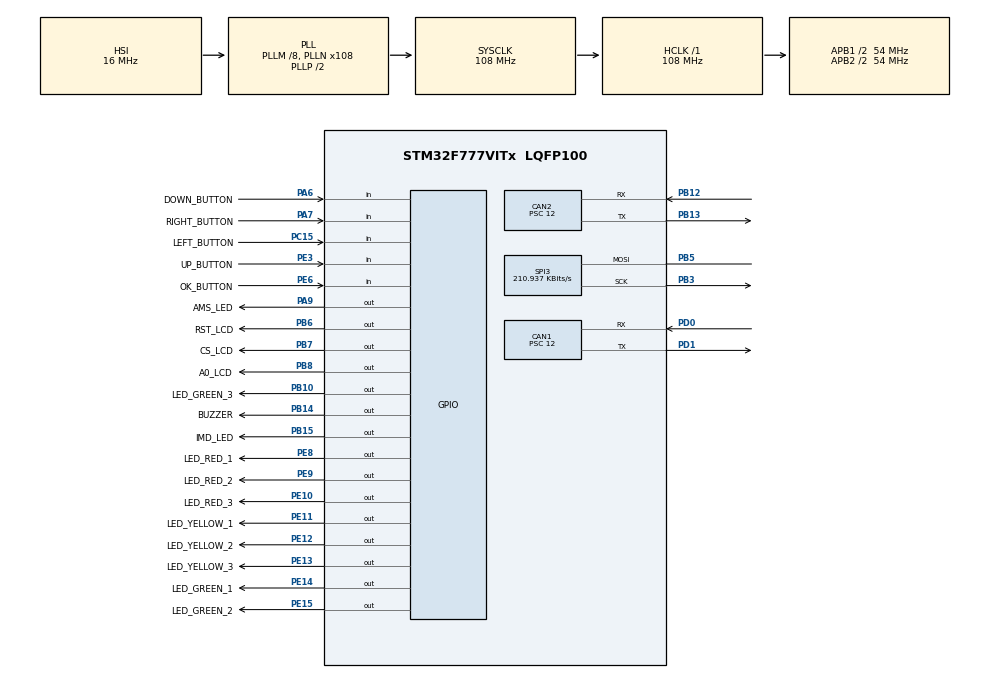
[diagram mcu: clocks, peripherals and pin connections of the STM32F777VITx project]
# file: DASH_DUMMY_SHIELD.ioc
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CAN1.BS1=CAN_BS1_6TQ
CAN1.BS2=CAN_BS2_2TQ
CAN1.CalculateBaudRate=500000
CAN1.CalculateTimeBit=2000
CAN1.CalculateTimeQuantum=222.22222222222223
CAN1.Prescaler=12
CAN2.BS1=CAN_BS1_6TQ
CAN2.BS2=CAN_BS2_2TQ
CAN2.CalculateBaudRate=500000
CAN2.CalculateTimeBit=2000
CAN2.CalculateTimeQuantum=222.22222222222223
CAN2.Prescaler=12
CORTEX_M7.default_mode_Activation=1
Mcu.Family=STM32F7
Mcu.Name=STM32F777VITx
Mcu.Package=LQFP100
NVIC.CAN1_RX0_IRQn=true\:3\:0\:true\:false\:true\:true\:true\:true
NVIC.CAN1_RX1_IRQn=true\:3\:0\:true\:false\:true\:true\:true\:true
NVIC.CAN1_SCE_IRQn=true\:0\:0\:false\:false\:true\:true\:true\:true
NVIC.CAN1_TX_IRQn=true\:1\:0\:true\:false\:true\:true\:true\:true
NVIC.CAN2_RX0_IRQn=true\:2\:0\:true\:false\:true\:true\:true\:true
NVIC.CAN2_RX1_IRQn=true\:2\:0\:true\:false\:true\:true\:true\:true
NVIC.CAN2_SCE_IRQn=true\:0\:0\:false\:false\:true\:true\:true\:true
NVIC.CAN2_TX_IRQn=true\:0\:0\:false\:false\:true\:true\:true\:true
NVIC.PriorityGroup=NVIC_PRIORITYGROUP_4
NVIC.TIM8_TRG_COM_TIM14_IRQn=true\:0\:0\:false\:false\:true\:true\:true\:true
NVIC.TIM8_UP_TIM13_IRQn=true\:0\:0\:false\:false\:true\:true\:true\:true
PA6.GPIO_Label=DOWN_BUTTON
PA6.Signal=GPIO_Input
PA7.GPIO_Label=RIGHT_BUTTON
PA7.Signal=GPIO_Input
PA9.GPIO_Label=AMS_LED
PA9.Signal=GPIO_Output
PB10.GPIO_Label=LED_GREEN_3
PB10.Signal=GPIO_Output
PB12.Mode=CAN_Activate
PB12.Signal=CAN2_RX
PB13.Mode=CAN_Activate
PB13.Signal=CAN2_TX
PB14.GPIO_Label=BUZZER
PB14.Signal=GPIO_Output
PB15.GPIO_Label=IMD_LED
PB15.Signal=GPIO_Output
PB3.Mode=Simplex_Bidirectional_Master
PB3.Signal=SPI3_SCK
PB5.Mode=Simplex_Bidirectional_Master
PB5.Signal=SPI3_MOSI
PB6.GPIO_Label=RST_LCD
PB6.GPIO_PuPd=GPIO_PULLUP
PB6.Signal=GPIO_Output
PB7.GPIO_Label=CS_LCD
PB7.GPIO_PuPd=GPIO_PULLUP
PB7.Signal=GPIO_Output
PB8.GPIO_Label=A0_LCD
PB8.GPIO_PuPd=GPIO_PULLUP
PB8.Signal=GPIO_Output
PC15/OSC32_OUT.GPIO_Label=LEFT_BUTTON
PC15/OSC32_OUT.Signal=GPIO_Input
PD0.Mode=CAN_Activate
PD0.Signal=CAN1_RX
PD1.Mode=CAN_Activate
PD1.Signal=CAN1_TX
PE10.GPIO_Label=LED_RED_3
PE10.Signal=GPIO_Output
PE11.GPIO_Label=LED_YELLOW_1
PE11.Signal=GPIO_Output
PE12.GPIO_Label=LED_YELLOW_2
PE12.Signal=GPIO_Output
PE13.GPIO_Label=LED_YELLOW_3
PE13.Signal=GPIO_Output
PE14.GPIO_Label=LED_GREEN_1
PE14.Signal=GPIO_Output
PE15.GPIO_Label=LED_GREEN_2
PE15.Signal=GPIO_Output
PE3.GPIO_Label=UP_BUTTON
PE3.Signal=GPIO_Input
PE6.GPIO_Label=OK_BUTTON
PE6.Signal=GPIO_Input
PE8.GPIO_Label=LED_RED_1
PE8.Signal=GPIO_Output
PE9.GPIO_Label=LED_RED_2
PE9.Signal=GPIO_Output
ProjectManager.HeapSize=0x200
ProjectManager.StackSize=0x400
ProjectManager.TargetToolchain=STM32CubeIDE
RCC.AHBFreq_Value=108000000
RCC.APB1CLKDivider=RCC_HCLK_DIV2
RCC.APB1Freq_Value=54000000
RCC.APB1TimFreq_Value=108000000
RCC.APB2CLKDivider=RCC_HCLK_DIV2
RCC.APB2Freq_Value=54000000
RCC.APB2TimFreq_Value=108000000
RCC.CortexFreq_Value=108000000
RCC.HCLKFreq_Value=108000000
RCC.HSE_VALUE=25000000
RCC.HSI_VALUE=16000000
RCC.LSE_VALUE=32768
RCC.PLLM=8
RCC.PLLN=108
RCC.SYSCLKFreq_VALUE=108000000
RCC.SYSCLKSource=RCC_SYSCLKSOURCE_PLLCLK
RCC.USBFreq_Value=108000000
RCC.VCOOutputFreq_Value=216000000
SPI3.BaudRatePrescaler=SPI_BAUDRATEPRESCALER_256
SPI3.CalculateBaudRate=210.937 KBits/s
SPI3.DataSize=SPI_DATASIZE_8BIT
SPI3.Direction=SPI_DIRECTION_1LINE
SPI3.Mode=SPI_MODE_MASTER
SPI3.VirtualType=VM_MASTER
TIM13.Period=10000
TIM13.Prescaler=10-1
TIM14.Period=10000
TIM14.Prescaler=10-1
VP_TIM13_VS_ClockSourceINT.Mode=Enable_Timer
VP_TIM14_VS_ClockSourceINT.Mode=Enable_Timer
board=custom

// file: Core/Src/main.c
/* USER CODE BEGIN Header */
/**
  ******************************************************************************
  * @file           : main.c
  * @brief          : Main program body
  ******************************************************************************
  * @attention
  *
  * Copyright (c) 2024 STMicroelectronics.
  * All rights reserved.
  *
  * This software is licensed under terms that can be found in the LICENSE file
  * in the root directory of this software component.
  * If no LICENSE file comes with this software, it is provided AS-IS.
  *
  ******************************************************************************
  */
/* USER CODE END Header */
#include "main.h"

/* USER CODE BEGIN Includes */
#include "graphics.h"
#include "statemachine.h"
#include "buttons.h"
#include "can.h"
#include "glcd_etr.h"
#include "init.h"
#include "font_tahoma.h"

/* USER CODE END Includes */

CAN_HandleTypeDef hcan1;
CAN_HandleTypeDef hcan2;

SPI_HandleTypeDef hspi3;

TIM_HandleTypeDef htim13;
TIM_HandleTypeDef htim14;

/* USER CODE BEGIN PV */

	/* CAN  -----------------------------------------------------------------*/

	CAN_TxHeaderTypeDef TxHeader;
	CAN_RxHeaderTypeDef RxHeader;
	CAN_FilterTypeDef can1filter;
	CAN_FilterTypeDef can2filter;

	uint32_t RxMailbox = 0;
	uint32_t TxMailbox;
	uint8_t TxData[8];
	uint8_t RxData[8];

	/* CAR STATE -------------------------------------------------------------*/

	uint8_t Car__State[1];	//0 -> Init; 3 -> PrechargeRequest; 6 -> Precharge In Process; 9 -> Precharge Done; 12 -> Racing Menu; 14 -> Inverters Ready; 15 -> Racing Mode; 21 -> Errors
	uint8_t Current_Car_State[1];
	uint8_t Racing_Mode[1];
	uint8_t Precharge_Request[1];

	/* DASH DATA -------------------------------------------------------------*/

	uint16_t PrechargeVoltage[1];
	uint8_t PrechargePercentatge[1];
	uint8_t CarSpeed[1];
	uint8_t SoC_Average[1];

	/* DISCONNECTIONS  -------------------------------------------------------*/

	uint8_t BMS_Disconnect[1];
	uint8_t Dash_Disconect[1];
	uint8_t Front_Disconenct[1];
	uint8_t Ellipse_Disconect[1];
	uint8_t Rear_Disconnect[1];
	uint8_t APPS1_Disconect[1];
	uint8_t APPS2_Disconnect[1];
	uint8_t BrakePedal_Disconnect[1];
	uint8_t SteeringSensor_Disconnect[1];
	uint8_t SuspRR_Disconnect[1];
	uint8_t SuspRL_Disconnect[1];
	uint8_t SuspFR_Disconnect[1];
	uint8_t SuspFL_Disconnect[1];
	uint8_t SuspFL_Disconnect[1];
	uint8_t Pitot_Disconnect[1];

	/* SHUTDOWN  -------------------------------------------------------------*/

	uint8_t BMS_SD[1];
	uint8_t Front_SD[1];
	uint8_t Rear_SD[1];

	/* SYNCRONISM  -----------------------------------------------------------*/

	uint8_t syncronism[1];
	uint8_t KeepAlive[1];

	/* TEMPERATURAS  ---------------------------------------------------------*/

	uint16_t Lowest_CellTemperature[1];
	uint16_t Highest_CellTemperature[1];
	uint16_t Average_CellTemperature[1];

	/* VDC  ------------------------------------------------------------------*/

	uint8_t VDC_Params[1];

	/* VOLTAGES  -------------------------------------------------------------*/

	uint16_t Lowest_CellVolt[1];
	uint16_t Highest_CellVolt[1];
	uint32_t Accu_CellVolt[1];

	/* COOLING  --------------------------------------------------------------*/

	uint8_t Accumulator_Refri[1];
	uint8_t Inverters_Refri[1];

	/* ENABLE TO DRIVE   -----------------------------------------------------*/

	uint8_t Enable_Drive[1];

	/* CONTROL  --------------------------------------------------------------*/

	char msg_can1[1];
	char msg_can2[1];
	char precharge_request_control[1];			//0 -> Nothing Is Sent | 1 -> PrechargeReq = 1 Is Sent
												// 2 -> PrechargeReq = 0 Is Sent | 3 -> Precharge Successful

/* USER CODE END PV */

void SystemClock_Config(void);
static void MPU_Config(void);
static void MX_GPIO_Init(void);
static void MX_CAN1_Init(void);
static void MX_CAN2_Init(void);
static void MX_SPI3_Init(void);
static void MX_TIM14_Init(void);
static void MX_TIM13_Init(void);

int main(void)
{

  /* MPU Configuration--------------------------------------------------------*/
  MPU_Config();

  /* MCU Configuration--------------------------------------------------------*/

  /* Reset of all peripherals, Initializes the Flash interface and the Systick. */
  HAL_Init();

  /* Configure the system clock */
  SystemClock_Config();

  /* Initialize all configured peripherals */
  MX_GPIO_Init();
  MX_CAN1_Init();
  MX_CAN2_Init();
  MX_SPI3_Init();
  MX_TIM14_Init();
  MX_TIM13_Init();
  /* USER CODE BEGIN 2 */

 // VARIABLE_RESET(&Enable_Drive, &Racing_Mode, &Precharge_Request, &KeepAlive, &Inverters_Refri, &Accumulator_Refri, &msg_can1, &msg_can2);

  NORMATIVE_INIT();
  VARIABLE_RESET(Enable_Drive, Racing_Mode, Precharge_Request, KeepAlive, Inverters_Refri, Accumulator_Refri, msg_can1, msg_can2, Car__State, precharge_request_control);

  filtercanconfig_can1(&can1filter);
  filtercanconfig_can2(&can2filter);
  CAN1_CONFIG_INIT(can1filter, hcan1);
  CAN1_CONFIG_INIT(can2filter, hcan2);

  if(HAL_TIM_Base_Start_IT(&htim13) != HAL_OK) Error_Handler();
  if(HAL_TIM_Base_Start_IT(&htim14) != HAL_OK) Error_Handler();

  draw_text("hola", 10, 3, Tahoma7, 1);
  glcd_etr_refresh(hspi3);

  NORMATIVE_INIT();

  /* USER CODE END 2 */

  /* Infinite loop */
  /* USER CODE BEGIN WHILE */
	  while (1){

	      switch(Car__State[0])
	      {
	          case 0:

	        	  // init screen, and other peripherals
	        	  // LOGO SCREEN
	        	  draw_text("car state 0", 10, 10, Tahoma7, 2);
	        	  glcd_etr_refresh(hspi3);

	        	  break;

	          case 3:

	        	  draw_text("car state 3", 10, 10, Tahoma7, 2);
	        	  glcd_etr_refresh(hspi3);

	        	  if (precharge_request_control[0] == 0){
		        	  buttonsPrecharge(Precharge_Request);
		        	  precharge_request_control[0] = 1;
	        	  }
	        	  HAL_GPIO_TogglePin(LED_GREEN_1_GPIO_Port, LED_GREEN_1_Pin);

	              // wait for the Pilot to press Precharge Button.
	             // buttonsPrecharge(&Precharge_Request);
	              // When pressed PrechargeRequest is updated and waits for the synchronism to send
	              break;

	          case 6:
	              // SCREEN: *updates the precharge value and shows it*
	        		draw_text("car state 6", 10, 10, Tahoma7, 2);
		        	glcd_etr_refresh(hspi3);

	              break;

	          case 9:
	              // SCREEN: FINISHED PRECHARGE
	        		draw_text("car state 9", 10, 10, Tahoma7, 2);
		        	glcd_etr_refresh(hspi3);

	              break;

	          case 12:
	        	  draw_text("car state 12", 10, 10, Tahoma7, 2);
	        	  glcd_etr_refresh(hspi3);

	              buttonsModeMenu(Racing_Mode);
	              break;

	          case 14:
	        	  draw_text("car state 14", 10, 10, Tahoma7, 2);
	        	  glcd_etr_refresh(hspi3);

	              // SCREEN: INVERTERS GETTING READY
	              break;

	          case 15:
	        		draw_text("car state 1", 10, 10, Tahoma7, 2);
		        	glcd_etr_refresh(hspi3);

	        	  // SCREEN: RACING MODE
	        	  // BARGRAPH: SOC
	        	  break;

	          case 21:
	        	  draw_text("car state 21", 10, 10, Tahoma7, 2);
	        	  glcd_etr_refresh(hspi3);

	        	  //SCREEN: POP UP WINDOW ERROR

	        	  break;

	      }

	  }
    /* USER CODE END WHILE */

}

void SystemClock_Config(void)
{
  RCC_OscInitTypeDef RCC_OscInitStruct = {0};
  RCC_ClkInitTypeDef RCC_ClkInitStruct = {0};

  /** Configure the main internal regulator output voltage
  */
  __HAL_RCC_PWR_CLK_ENABLE();
  __HAL_PWR_VOLTAGESCALING_CONFIG(PWR_REGULATOR_VOLTAGE_SCALE3);

  /** Initializes the RCC Oscillators according to the specified parameters
  * in the RCC_OscInitTypeDef structure.
  */
  RCC_OscInitStruct.OscillatorType = RCC_OSCILLATORTYPE_HSI;
  RCC_OscInitStruct.HSIState = RCC_HSI_ON;
  RCC_OscInitStruct.HSICalibrationValue = RCC_HSICALIBRATION_DEFAULT;
  RCC_OscInitStruct.PLL.PLLState = RCC_PLL_ON;
  RCC_OscInitStruct.PLL.PLLSource = RCC_PLLSOURCE_HSI;
  RCC_OscInitStruct.PLL.PLLM = 8;
  RCC_OscInitStruct.PLL.PLLN = 108;
  RCC_OscInitStruct.PLL.PLLP = RCC_PLLP_DIV2;
  RCC_OscInitStruct.PLL.PLLQ = 2;
  RCC_OscInitStruct.PLL.PLLR = 2;
  if (HAL_RCC_OscConfig(&RCC_OscInitStruct) != HAL_OK)
  {
    Error_Handler();
  }

  /** Activate the Over-Drive mode
  */
  if (HAL_PWREx_EnableOverDrive() != HAL_OK)
  {
    Error_Handler();
  }

  /** Initializes the CPU, AHB and APB buses clocks
  */
  RCC_ClkInitStruct.ClockType = RCC_CLOCKTYPE_HCLK|RCC_CLOCKTYPE_SYSCLK
                              |RCC_CLOCKTYPE_PCLK1|RCC_CLOCKTYPE_PCLK2;
  RCC_ClkInitStruct.SYSCLKSource = RCC_SYSCLKSOURCE_PLLCLK;
  RCC_ClkInitStruct.AHBCLKDivider = RCC_SYSCLK_DIV1;
  RCC_ClkInitStruct.APB1CLKDivider = RCC_HCLK_DIV2;
  RCC_ClkInitStruct.APB2CLKDivider = RCC_HCLK_DIV2;

  if (HAL_RCC_ClockConfig(&RCC_ClkInitStruct, FLASH_LATENCY_3) != HAL_OK)
  {
    Error_Handler();
  }
}

static void MX_CAN1_Init(void)
{

  hcan1.Instance = CAN1;
  hcan1.Init.Prescaler = 12;
  hcan1.Init.Mode = CAN_MODE_NORMAL;
  hcan1.Init.SyncJumpWidth = CAN_SJW_1TQ;
  hcan1.Init.TimeSeg1 = CAN_BS1_6TQ;
  hcan1.Init.TimeSeg2 = CAN_BS2_2TQ;
  hcan1.Init.TimeTriggeredMode = DISABLE;
  hcan1.Init.AutoBusOff = DISABLE;
  hcan1.Init.AutoWakeUp = DISABLE;
  hcan1.Init.AutoRetransmission = DISABLE;
  hcan1.Init.ReceiveFifoLocked = DISABLE;
  hcan1.Init.TransmitFifoPriority = DISABLE;
  if (HAL_CAN_Init(&hcan1) != HAL_OK)
  {
    Error_Handler();
  }

}

static void MX_CAN2_Init(void)
{

  hcan2.Instance = CAN2;
  hcan2.Init.Prescaler = 12;
  hcan2.Init.Mode = CAN_MODE_NORMAL;
  hcan2.Init.SyncJumpWidth = CAN_SJW_1TQ;
  hcan2.Init.TimeSeg1 = CAN_BS1_6TQ;
  hcan2.Init.TimeSeg2 = CAN_BS2_2TQ;
  hcan2.Init.TimeTriggeredMode = DISABLE;
  hcan2.Init.AutoBusOff = DISABLE;
  hcan2.Init.AutoWakeUp = DISABLE;
  hcan2.Init.AutoRetransmission = DISABLE;
  hcan2.Init.ReceiveFifoLocked = DISABLE;
  hcan2.Init.TransmitFifoPriority = DISABLE;
  if (HAL_CAN_Init(&hcan2) != HAL_OK)
  {
    Error_Handler();
  }

}

static void MX_SPI3_Init(void)
{

  /* SPI3 parameter configuration*/
  hspi3.Instance = SPI3;
  hspi3.Init.Mode = SPI_MODE_MASTER;
  hspi3.Init.Direction = SPI_DIRECTION_1LINE;
  hspi3.Init.DataSize = SPI_DATASIZE_8BIT;
  hspi3.Init.CLKPolarity = SPI_POLARITY_LOW;
  hspi3.Init.CLKPhase = SPI_PHASE_1EDGE;
  hspi3.Init.NSS = SPI_NSS_SOFT;
  hspi3.Init.BaudRatePrescaler = SPI_BAUDRATEPRESCALER_256;
  hspi3.Init.FirstBit = SPI_FIRSTBIT_MSB;
  hspi3.Init.TIMode = SPI_TIMODE_DISABLE;
  hspi3.Init.CRCCalculation = SPI_CRCCALCULATION_DISABLE;
  hspi3.Init.CRCPolynomial = 7;
  hspi3.Init.CRCLength = SPI_CRC_LENGTH_DATASIZE;
  hspi3.Init.NSSPMode = SPI_NSS_PULSE_ENABLE;
  if (HAL_SPI_Init(&hspi3) != HAL_OK)
  {
    Error_Handler();
  }

}

static void MX_TIM13_Init(void)
{

  htim13.Instance = TIM13;
  htim13.Init.Prescaler = 10-1;
  htim13.Init.CounterMode = TIM_COUNTERMODE_UP;
  htim13.Init.Period = 10000;
  htim13.Init.ClockDivision = TIM_CLOCKDIVISION_DIV1;
  htim13.Init.AutoReloadPreload = TIM_AUTORELOAD_PRELOAD_DISABLE;
  if (HAL_TIM_Base_Init(&htim13) != HAL_OK)
  {
    Error_Handler();
  }

}

static void MX_TIM14_Init(void)
{

  htim14.Instance = TIM14;
  htim14.Init.Prescaler = 10-1;
  htim14.Init.CounterMode = TIM_COUNTERMODE_UP;
  htim14.Init.Period = 10000;
  htim14.Init.ClockDivision = TIM_CLOCKDIVISION_DIV1;
  htim14.Init.AutoReloadPreload = TIM_AUTORELOAD_PRELOAD_DISABLE;
  if (HAL_TIM_Base_Init(&htim14) != HAL_OK)
  {
    Error_Handler();
  }

}

static void MX_GPIO_Init(void)
{
  GPIO_InitTypeDef GPIO_InitStruct = {0};

  /* GPIO Ports Clock Enable */
  __HAL_RCC_GPIOE_CLK_ENABLE();
  __HAL_RCC_GPIOC_CLK_ENABLE();
  __HAL_RCC_GPIOA_CLK_ENABLE();
  __HAL_RCC_GPIOB_CLK_ENABLE();
  __HAL_RCC_GPIOD_CLK_ENABLE();

  /*Configure GPIO pin Output Level */
  HAL_GPIO_WritePin(GPIOE, LED_RED_1_Pin|LED_RED_2_Pin|LED_RED_3_Pin|LED_YELLOW_1_Pin
                          |LED_YELLOW_2_Pin|LED_YELLOW_3_Pin|LED_GREEN_1_Pin|LED_GREEN_2_Pin, GPIO_PIN_RESET);

  /*Configure GPIO pin Output Level */
  HAL_GPIO_WritePin(GPIOB, LED_GREEN_3_Pin|BUZZER_Pin|IMD_LED_Pin|RST_LCD_Pin
                          |CS_LCD_Pin|A0_LCD_Pin, GPIO_PIN_RESET);

  /*Configure GPIO pin Output Level */
  HAL_GPIO_WritePin(AMS_LED_GPIO_Port, AMS_LED_Pin, GPIO_PIN_RESET);

  /*Configure GPIO pins : UP_BUTTON_Pin OK_BUTTON_Pin */
  GPIO_InitStruct.Pin = UP_BUTTON_Pin|OK_BUTTON_Pin;
  GPIO_InitStruct.Mode = GPIO_MODE_INPUT;
  GPIO_InitStruct.Pull = GPIO_NOPULL;
  HAL_GPIO_Init(GPIOE, &GPIO_InitStruct);

  /*Configure GPIO pin : LEFT_BUTTON_Pin */
  GPIO_InitStruct.Pin = LEFT_BUTTON_Pin;
  GPIO_InitStruct.Mode = GPIO_MODE_INPUT;
  GPIO_InitStruct.Pull = GPIO_NOPULL;
  HAL_GPIO_Init(LEFT_BUTTON_GPIO_Port, &GPIO_InitStruct);

  /*Configure GPIO pins : DOWN_BUTTON_Pin RIGHT_BUTTON_Pin */
  GPIO_InitStruct.Pin = DOWN_BUTTON_Pin|RIGHT_BUTTON_Pin;
  GPIO_InitStruct.Mode = GPIO_MODE_INPUT;
  GPIO_InitStruct.Pull = GPIO_NOPULL;
  HAL_GPIO_Init(GPIOA, &GPIO_InitStruct);

  /*Configure GPIO pins : LED_RED_1_Pin LED_RED_2_Pin LED_RED_3_Pin LED_YELLOW_1_Pin
                           LED_YELLOW_2_Pin LED_YELLOW_3_Pin LED_GREEN_1_Pin LED_GREEN_2_Pin */
  GPIO_InitStruct.Pin = LED_RED_1_Pin|LED_RED_2_Pin|LED_RED_3_Pin|LED_YELLOW_1_Pin
                          |LED_YELLOW_2_Pin|LED_YELLOW_3_Pin|LED_GREEN_1_Pin|LED_GREEN_2_Pin;
  GPIO_InitStruct.Mode = GPIO_MODE_OUTPUT_PP;
  GPIO_InitStruct.Pull = GPIO_NOPULL;
  GPIO_InitStruct.Speed = GPIO_SPEED_FREQ_LOW;
  HAL_GPIO_Init(GPIOE, &GPIO_InitStruct);

  /*Configure GPIO pins : LED_GREEN_3_Pin BUZZER_Pin IMD_LED_Pin */
  GPIO_InitStruct.Pin = LED_GREEN_3_Pin|BUZZER_Pin|IMD_LED_Pin;
  GPIO_InitStruct.Mode = GPIO_MODE_OUTPUT_PP;
  GPIO_InitStruct.Pull = GPIO_NOPULL;
  GPIO_InitStruct.Speed = GPIO_SPEED_FREQ_LOW;
  HAL_GPIO_Init(GPIOB, &GPIO_InitStruct);

  /*Configure GPIO pin : AMS_LED_Pin */
  GPIO_InitStruct.Pin = AMS_LED_Pin;
  GPIO_InitStruct.Mode = GPIO_MODE_OUTPUT_PP;
  GPIO_InitStruct.Pull = GPIO_NOPULL;
  GPIO_InitStruct.Speed = GPIO_SPEED_FREQ_LOW;
  HAL_GPIO_Init(AMS_LED_GPIO_Port, &GPIO_InitStruct);

  /*Configure GPIO pins : RST_LCD_Pin CS_LCD_Pin A0_LCD_Pin */
  GPIO_InitStruct.Pin = RST_LCD_Pin|CS_LCD_Pin|A0_LCD_Pin;
  GPIO_InitStruct.Mode = GPIO_MODE_OUTPUT_PP;
  GPIO_InitStruct.Pull = GPIO_PULLUP;
  GPIO_InitStruct.Speed = GPIO_SPEED_FREQ_LOW;
  HAL_GPIO_Init(GPIOB, &GPIO_InitStruct);

}

/* USER CODE BEGIN 4 */

void HAL_CAN_RxFifo0MsgPendingCallback(CAN_HandleTypeDef *hcan1) {

	rx_sorter_can1(*hcan1, RxMailbox, RxHeader, RxData, msg_can1, Car__State, PrechargeVoltage, PrechargePercentatge,
			CarSpeed, SoC_Average, BMS_SD, syncronism, Lowest_CellTemperature, Highest_CellTemperature,
			Average_CellTemperature, VDC_Params, Lowest_CellVolt, Highest_CellVolt, Accu_CellVolt);

}

void HAL_CAN_RxFifo1MsgPendingCallback(CAN_HandleTypeDef *hcan2) {

	rx_sorter_can2(*hcan2, RxMailbox, RxHeader, RxData, msg_can2, SteeringSensor_Disconnect, SuspRR_Disconnect, SuspRL_Disconnect,
			SuspFR_Disconnect, SuspFL_Disconnect, Pitot_Disconnect, BMS_Disconnect, Dash_Disconect, Front_Disconenct,
			Ellipse_Disconect, Rear_Disconnect, APPS1_Disconect, APPS2_Disconnect, BrakePedal_Disconnect, Front_SD,
			Rear_SD, syncronism);
}

void HAL_TIM_PeriodElapsedCallback(TIM_HandleTypeDef *htim) {

	if (htim->Instance == TIM14)
	{
		switch(msg_can1[0]){

	   	case 1:
	  	message_cantx_Mode(hcan1, TxMailbox, TxHeader, TxData, Racing_Mode);
	  	msg_can1[0] = 2;
	  	break;

	   	case 2:
	  	message_cantx_EnableDrive(hcan1, TxMailbox, TxHeader, TxData, Enable_Drive);

//	  	if (Enable_Drive[0] == 1){
//	  			// Resets the Value
//	  		Enable_Drive[0] = 1;
//	  	}

	  	msg_can1[0] = 3;
	  	break;

	   	case 3:
	  	message_cantx_Keep_Alive(hcan1, TxMailbox, TxHeader, TxData, KeepAlive);
	  	KeepAlive[0]++;
	  	msg_can1[0] = 4;
	  	break;

	   	case 4:
	   		switch(precharge_request_control[1]){

	   			case 0:
	   				// Nothing is Sent
	   			break;

	   			case 1:
	   			message_cantx_PrechargeRequest(hcan1, TxMailbox, TxHeader, TxData, Precharge_Request);
	   			Precharge_Request[0] = 0;
	   			precharge_request_control[1] = 2;
	   			break;

	   			case 2:
		   		message_cantx_PrechargeRequest(hcan1, TxMailbox, TxHeader, TxData, Precharge_Request);
	   			precharge_request_control[1] = 3;
	   			break;
	   		}

	  	msg_can1[0] = 0;
	  	break;

	}

	if (htim->Instance == TIM14)
	{

		switch(msg_can2[0]){

			case 1:
				message_cantx_Cooling(hcan1, TxMailbox, TxHeader, TxData, Accumulator_Refri, Inverters_Refri);
				msg_can2[0] = 0;
				break;

			}
		}
	}
}

/* USER CODE END 4 */

 /* MPU Configuration */

void MPU_Config(void)
{
  MPU_Region_InitTypeDef MPU_InitStruct = {0};

  /* Disables the MPU */
  HAL_MPU_Disable();

  /** Initializes and configures the Region and the memory to be protected
  */
  MPU_InitStruct.Enable = MPU_REGION_ENABLE;
  MPU_InitStruct.Number = MPU_REGION_NUMBER0;
  MPU_InitStruct.BaseAddress = 0x0;
  MPU_InitStruct.Size = MPU_REGION_SIZE_4GB;
  MPU_InitStruct.SubRegionDisable = 0x87;
  MPU_InitStruct.TypeExtField = MPU_TEX_LEVEL0;
  MPU_InitStruct.AccessPermission = MPU_REGION_NO_ACCESS;
  MPU_InitStruct.DisableExec = MPU_INSTRUCTION_ACCESS_DISABLE;
  MPU_InitStruct.IsShareable = MPU_ACCESS_SHAREABLE;
  MPU_InitStruct.IsCacheable = MPU_ACCESS_NOT_CACHEABLE;
  MPU_InitStruct.IsBufferable = MPU_ACCESS_NOT_BUFFERABLE;

  HAL_MPU_ConfigRegion(&MPU_InitStruct);
  /* Enables the MPU */
  HAL_MPU_Enable(MPU_PRIVILEGED_DEFAULT);

}

void Error_Handler(void)
{
  __disable_irq();
  while (1)
  {
  }
}
